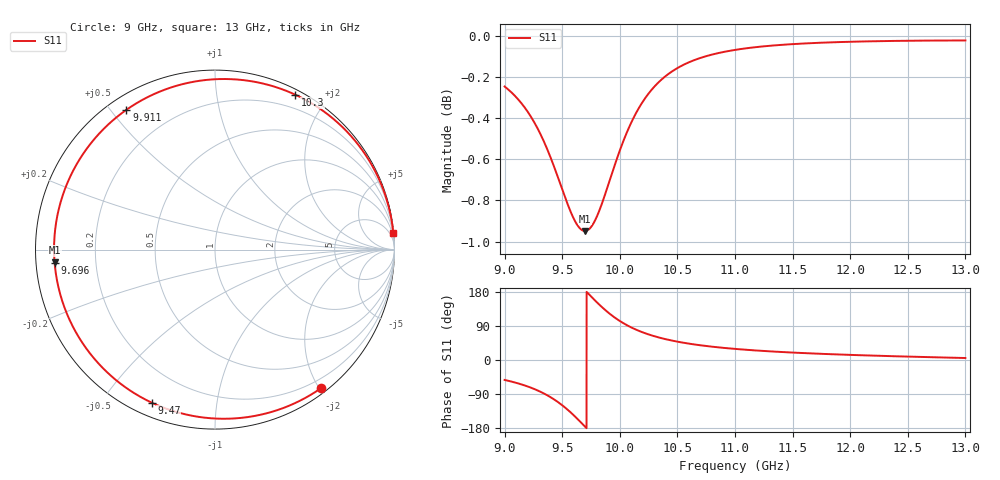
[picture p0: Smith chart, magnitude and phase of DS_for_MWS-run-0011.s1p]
! TOUCHSTONE file generated by CST DESIGN STUDIO
! Date and time: Tue Feb  4 18:19:17 2025
! Project name: C:\Work\MatlabApps\UnitCellOptimizationMatlab\CST\unitcell.cst
! Tree item: Tasks\Sweep1\SPara1\S-Parameters
! Header version: 2024
! Port assignment regex: !\s*Touchstone port\s*([0-9]+)\s*=\s*(CST MWS port|CST DES external port|CST DES block port)\s*(.+)\s* \(\"(.*)\"\)(\s*mode\s*([0-9]+))?.*
! Touchstone port assignment:
! Touchstone port 1 = CST DES external port 1 ("")
# GHz S MA R 50
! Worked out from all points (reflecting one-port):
!   4001 points, 9 GHz to 13 GHz, reference 50 ohm
!   lowest |S11| = -0.9 dB at 9.697 GHz (marker M1), VSWR 18.33, Z = 2.73 - j1.96 ohm
!   phase of S11 starts at -53 deg and turns -302 deg over the sweep
!   S11 on the Smith chart (normalised r, x): 9 GHz: 0.07, -2.02; 9.47 GHz: 0.06, -0.67; 9.696 GHz: 0.05, -0.04; 9.911 GHz: 0.05, +0.55; 10.3 GHz: 0.05, +1.64; 13 GHz: 1, +22
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9  0.9721 -52.6
9.127  0.9644 -62.6
9.247  0.9539 -75.2
9.372  0.9383 -93.4
9.47  0.9228 -112.5
9.5  0.9177 -119.4
9.546  0.9103 -130.9
9.591  0.9039 -143.3
9.646  0.8984 -159.6
9.696  0.8966 -175.2
9.697  0.8966 -175.5
9.743  0.898 170.0
9.791  0.9026 155.2
9.852  0.9116 137.6
9.911  0.9221 122.4
9.954  0.9299 112.4
10  0.9379 102.9
10.067  0.9482 91.0
10.147  0.9584 79.3
10.222  0.9659 70.4
10.302  0.9721 62.6
10.5  0.9822 48.4
10.718  0.9881 38.1
11  0.9922 29.3
11.5  0.9954 19.6
12  0.9967 13.5
12.5  0.9973 9.0
13  0.9975 5.2
